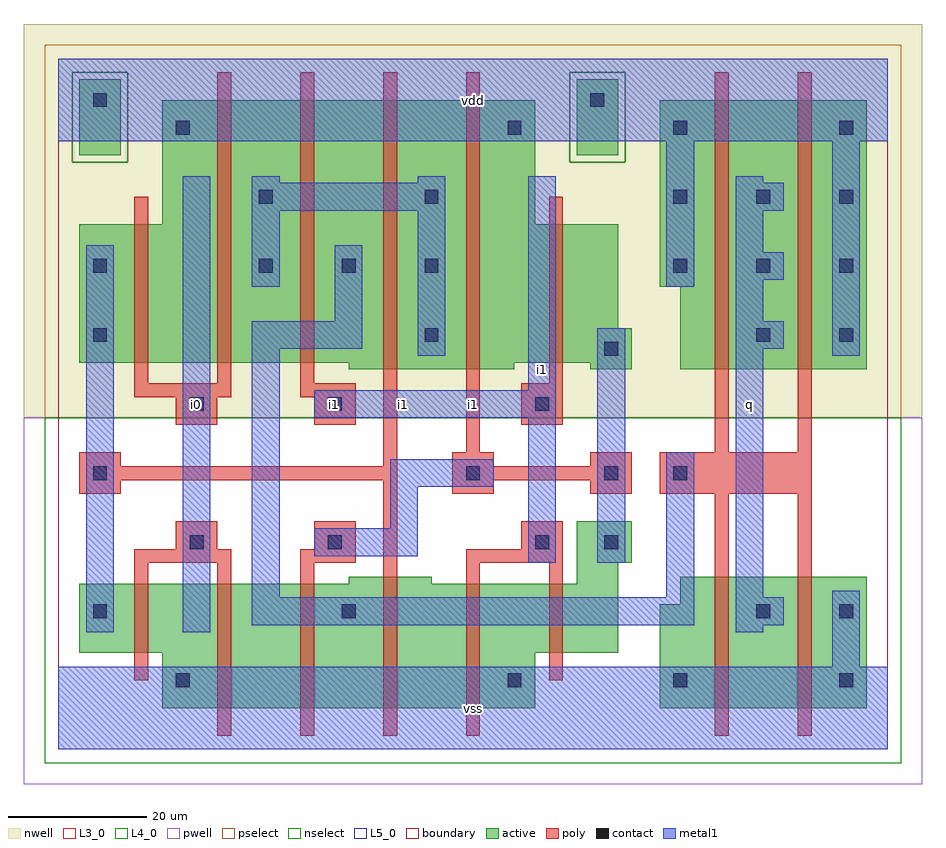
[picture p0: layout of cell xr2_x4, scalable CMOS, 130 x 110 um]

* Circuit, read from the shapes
.subckt xr2_x4 i0 i1 q vdd vss
M1 vss i0 n1 VSUBS nfet w=10u l=2u
M2 n2 i0 vss VSUBS nfet w=18u l=2u
M3 n3 n4 n2 VSUBS nfet w=18u l=2u
M4 n5 n1 n3 VSUBS nfet w=19u l=2u
M5 vss i1 n5 VSUBS nfet w=18u l=2u
M6 n4 i1 vss VSUBS nfet w=10u l=2u
M7 q n3 vss VSUBS nfet w=19u l=2u m=2
M8 vdd i0 n1 vdd pfet w=20u l=2u
M9 n6 i0 vdd vdd pfet w=38u l=2u
M10 n3 i1 n6 vdd pfet w=38u l=2u
M11 n6 n1 n3 vdd pfet w=39u l=2u
M12 vdd n4 n6 vdd pfet w=39u l=2u
M13 n4 i1 vdd vdd pfet w=20u l=2u
M14 q n3 vdd vdd pfet w=39u l=2u m=2
.ends

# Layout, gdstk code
import gdstk
lib = gdstk.Library(unit=1e-6, precision=1e-09)
def R(c, l, rs):  # rectangles x0, y0, x1, y1
    for r in rs: c.add(gdstk.rectangle(r[:2], r[2:], *l))
def A(c, l, x, y, w, h, nx, ny, dx, dy):  # array of equal rectangles
    R(c, l, [(x+i*dx, y+j*dy, x+i*dx+w, y+j*dy+h) for i in range(nx) for j in range(ny)])
L3_0 = (3, 0)
L4_0 = (4, 0)
L5_0 = (5, 0)
contact = (25, 0)
pwell = (41, 0)
nwell = (42, 0)
active = (43, 0)
pselect = (44, 0)
nselect = (45, 0)
poly = (46, 0)
metal1 = (49, 0)
boundary = (63, 0)

xr2_x4 = lib.new_cell('xr2_x4')
R(xr2_x4, L3_0, [(15,6,69,14), (87,6,117,21), (3,14,81,24), (90,21,117,25), (42,24,54,25), (75,24,81,27), (75,27,83,33)])
R(xr2_x4, L4_0, [(42,55,66,56), (77,55,83,56), (90,55,117,67), (3,56,83,61), (3,61,81,76), (87,67,117,94), (15,76,69,94)])
R(xr2_x4, L5_0, [(3,86,9,97), (75,86,81,97)])
A(xr2_x4, contact, 65, 9, 2, 2, 3, 2, 24, 80)
A(xr2_x4, contact, 5, 59, 2, 2, 3, 1, 48, 0)
A(xr2_x4, contact, 29, 69, 2, 2, 3, 1, 12, 0)
A(xr2_x4, contact, 89, 69, 2, 2, 3, 2, 12, 10)
R(xr2_x4, contact, [(17,9,19,11), (5,19,7,21), (41,19,43,21), (101,19,103,21), (113,19,115,21), (19,29,21,31), (39,29,41,31), (69,29,71,31), (79,29,81,31), (5,39,7,41), (59,39,61,41), (79,39,81,41), (89,39,91,41), (19,49,21,51), (39,49,41,51), (69,49,71,51), (79,57,81,59), (113,59,115,61), (5,69,7,71), (29,79,31,81), (53,79,55,81), (17,89,19,91), (5,93,7,95), (77,93,79,95)])
R(xr2_x4, pwell, [(-5,-5,125,48)])
R(xr2_x4, nwell, [(-5,48,125,105)])
R(xr2_x4, active, [(15,6,69,14), (87,6,117,21), (3,14,81,24), (90,21,117,25), (42,24,54,25), (75,24,81,27), (75,27,83,33), (42,55,66,56), (77,55,83,56), (90,55,117,67), (3,56,83,61), (3,61,81,76), (87,67,117,94), (15,76,69,94), (3,86,9,97), (75,86,81,97)])
R(xr2_x4, pselect, [(-2,48,122,85), (-2,85,2,98), (10,85,74,98), (82,85,122,98), (-2,98,122,102)])
R(xr2_x4, nselect, [(-2,-2,122,48), (2,85,10,98), (74,85,82,98)])
R(xr2_x4, poly, [(23,2,25,27), (35,2,37,27), (47,2,49,39), (59,2,61,27), (95,2,97,37), (107,2,109,37), (11,10,13,27), (71,10,73,27), (11,27,25,29), (35,27,43,29), (59,27,73,29), (17,29,23,33), (37,29,43,33), (67,29,73,33), (3,37,9,39), (57,37,63,39), (77,37,83,39), (87,37,109,43), (3,39,49,41), (57,39,83,41), (3,41,9,43), (47,41,49,98), (57,41,63,43), (77,41,83,43), (59,43,61,98), (95,43,97,98), (107,43,109,98), (17,47,23,51), (37,47,43,51), (67,47,73,53), (11,51,25,53), (35,51,43,53), (11,53,13,80), (23,53,25,98), (35,53,37,98), (71,53,73,80)])
A(xr2_x4, metal1, 98, 58, 7, 4, 1, 3, 0, 10)
R(xr2_x4, metal1, [(0,0,120,12), (112,12,116,23), (4,17,8,73), (18,17,22,83), (98,17,102,18), (28,18,92,22), (98,18,105,22), (28,22,32,58), (88,22,92,43), (98,22,102,58), (68,27,72,48), (78,27,82,61), (37,28,52,32), (48,32,52,38), (48,38,63,42), (37,48,72,52), (68,52,72,83), (52,57,56,78), (112,57,116,88), (28,58,44,62), (40,62,44,73), (98,62,102,68), (28,67,32,78), (88,67,92,88), (98,72,102,78), (28,78,56,82), (28,82,32,83), (52,82,56,83), (98,82,102,83), (0,88,120,100)])
R(xr2_x4, boundary, [(0,0,120,100)])
xr2_x4.add(gdstk.Label('i0', (20,50), layer=49, texttype=0))
xr2_x4.add(gdstk.Label('i1', (40,50), layer=49, texttype=0))
xr2_x4.add(gdstk.Label('i1', (50,50), layer=49, texttype=0))
xr2_x4.add(gdstk.Label('vss', (60,6), layer=49, texttype=0))
xr2_x4.add(gdstk.Label('i1', (60,50), layer=49, texttype=0))
xr2_x4.add(gdstk.Label('i1', (70,55), layer=49, texttype=0))
xr2_x4.add(gdstk.Label('vdd', (60,94), layer=49, texttype=0))
xr2_x4.add(gdstk.Label('q', (100,50), layer=49, texttype=0))

lib.write_gds('xr2_x4.gds')
